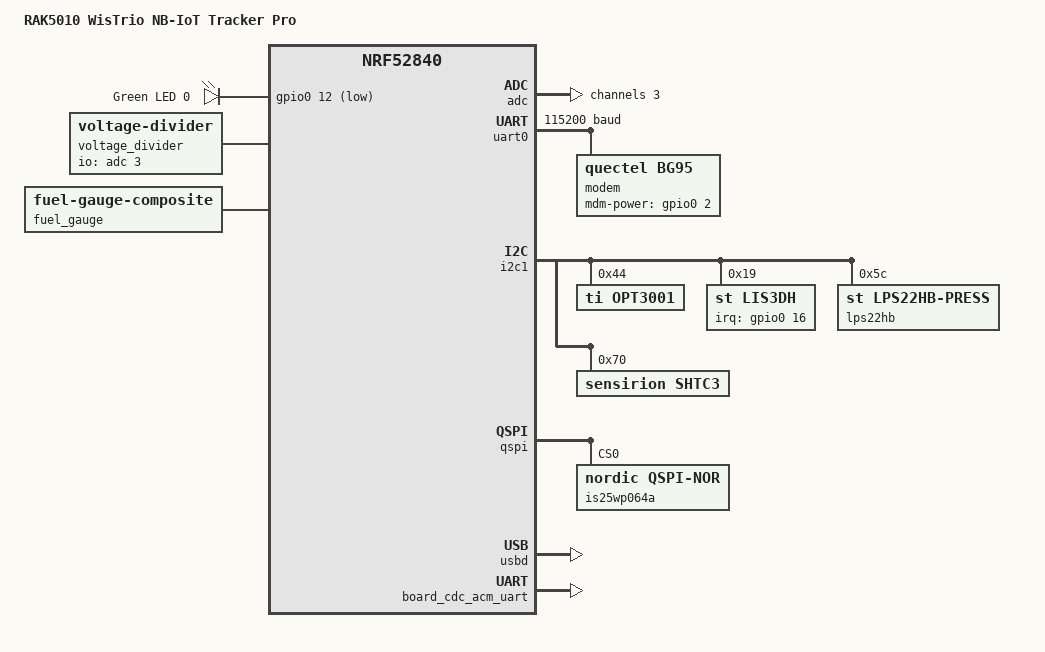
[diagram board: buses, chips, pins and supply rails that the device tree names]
/*
 * Copyright (c) 2020 Guillaume Paquet <guillaume.paquet@smile.fr>
 * Copyright (c) 2026 JaeHwan Jin <jaehwan.jin@rakwireless.com>
 *
 * SPDX-License-Identifier: Apache-2.0
 */

/dts-v1/;
#include <nordic/nrf52840_qiaa.dtsi>
#include <nordic/nrf52840_partition.dtsi>
#include <zephyr/dt-bindings/battery/battery.h>
#include "rak5010_nrf52840-pinctrl.dtsi"

/ {
	model = "RAK5010 WisTrio NB-IoT Tracker Pro";
	compatible = "rakwireless,rak5010";

	leds {
		compatible = "gpio-leds";

		led0: led_0 {
			gpios = <&gpio0 12 GPIO_ACTIVE_LOW>;
			label = "Green LED 0";
		};
	};

	/* Declaration of aliases */
	aliases {
		led0 = &led0;
		watchdog0 = &wdt0;
		accel0 = &lis3dh;
		modem-uart = &uart0;
		modem = &modem;
		dht0 = &shtc3;
		fuel-gauge0 = &fuel_gauge;
	};

	voltage_divider: voltage-divider {
		compatible = "voltage-divider";
		io-channels = <&adc 3>;
		output-ohms = <1500000>;
		full-ohms = <2500000>;
	};

	fuel_gauge: fuel-gauge {
		compatible = "zephyr,fuel-gauge-composite";
		source-primary = <&voltage_divider>;
		device-chemistry = "lithium-ion-polymer";
		ocv-capacity-table-0 =
			<BATTERY_OCV_CURVE_LITHIUM_ION_POLYMER_DEFAULT>;
	};
};

&adc {
	status = "okay";
};

&gpiote {
	status = "okay";
};

&gpio0 {
	status = "okay";
};

&gpio1 {
	status = "okay";
};

&uart0 {
	compatible = "nordic,nrf-uarte";
	status = "okay";
	current-speed = <115200>;
	pinctrl-0 = <&uart0_default>;
	pinctrl-1 = <&uart0_sleep>;
	pinctrl-names = "default", "sleep";

	modem: modem {
		compatible = "quectel,bg95";
		mdm-power-gpios = <&gpio0 2 GPIO_ACTIVE_HIGH>;
		status = "okay";
	};
};

&i2c1 {
	compatible = "nordic,nrf-twi";
	status = "okay";

	/* TI OPT3001 light sensor */
	pinctrl-0 = <&i2c1_default>;
	pinctrl-1 = <&i2c1_sleep>;
	pinctrl-names = "default", "sleep";

	opt3001@44 {
		compatible = "ti,opt3001";
		reg = <0x44>;
	};

	/* ST Microelectronics LIS3DH motion sensor */
	lis3dh: lis3dh@19 {
		compatible = "st,lis3dh", "st,lis2dh";
		reg = <0x19>;
		irq-gpios = <&gpio0 16 0>;
	};

	/* ST Microelectronics LPS22HB pressure sensor */
	lps22hb: lps22hb-press@5c {
		compatible = "st,lps22hb-press";
		reg = <0x5c>;
	};

	/* Sensiron SHTCx humidity and temperature sensor*/
	shtc3: shtc3@70 {
		compatible = "sensirion,shtc3", "sensirion,shtcx";
		reg = <0x70>;
		measure-mode = "normal";
		clock-stretching;
	};
};

&qspi {
	status = "okay";
	pinctrl-0 = <&qspi_default>;
	pinctrl-1 = <&qspi_sleep>;
	pinctrl-names = "default", "sleep";

	is25wp064a: is25wp064a@0 {
		compatible = "nordic,qspi-nor";
		reg = <0>;
		writeoc = "pp4o";
		readoc = "read4io";
		sck-frequency = <32000000>;
		jedec-id = [9d 70 17];
		size = <67108864>;
		has-dpd;
		t-enter-dpd = <3000>;
		t-exit-dpd = <5000>;
	};
};

&adc {
	status = "okay";
	#address-cells = <1>;
	#size-cells = <0>;

	/* Li-Ion battery ADC positive */
	channel@3 {
		reg = <3>;
		zephyr,gain = "ADC_GAIN_1_6";
		zephyr,resolution = <12>;
		zephyr,reference = "ADC_REF_INTERNAL";
		zephyr,acquisition-time = <ADC_ACQ_TIME_MAX>;
		zephyr,input-positive = <NRF_SAADC_AIN3>;
	};
};

zephyr_udc0: &usbd {
	compatible = "nordic,nrf-usbd";
	status = "okay";
};

#include <../boards/common/usb/cdc_acm_serial.dtsi>

&board_cdc_acm_uart {
	status = "okay";
};
